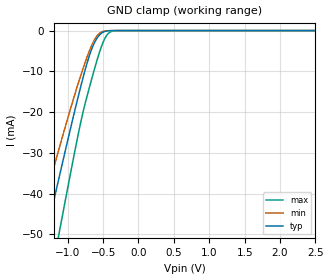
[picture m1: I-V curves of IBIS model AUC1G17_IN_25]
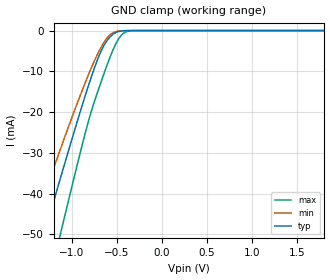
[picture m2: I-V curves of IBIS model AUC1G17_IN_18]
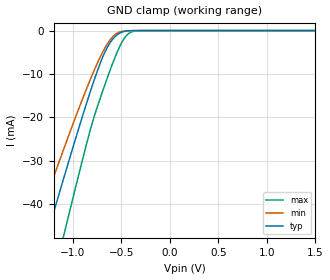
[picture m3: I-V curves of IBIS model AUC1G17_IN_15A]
| TEXAS INSTRUMENTS INCORPORATED
| Standard Linear and Logic Group
| IBIS Model of SN74AUC1G17
| Single Schmitt-Trigger Buffer
| This file contains package information for the following:
|  SOT 5-pin (DCK) package as [Component] AUC1G17_DCK
|  SOT 5-pin (DBV) package as [Component] AUC1G17_DBV
|  NanoStar WCSP 5-pin (YEA) package as [Component] AUC1G17_YEA
|  NanoFree WCSP 5-pin (YZA) package as [Component] AUC1G17_YZA
| This device can be powered at the following Vccs:
|  2.5 volt Vcc
|  1.8 volt Vcc
|  1.5 volt Vcc
|  1.2 volt Vcc
|  0.8 volt Vcc
| This file provides unique models under the [Model Selector] for each Vcc.
| For operation at a specific Vcc, select the appropriate model after each
| [Model Selector] keyword.
[IBIS Ver]   3.2
[Comment char]  |_char
[File Name]   sn74auc1g17.ibs
[File Rev]   1.1 | a_die
[Date]   September 27, 2002
[Source]   Data created from TI-SPICE simulations at TI-SLL.
[Notes]   The following is an IBIS list for the AUC1G17.
   Please contact sllibis@ti.com with questions and
   comments concerning SLL IBIS models.
   - The SN74AUC1G17 has output feedback control circuitry.
   This will cause some non-monotonicity warnings.
   - The SN74AUC1G17 inputs has no power clamp diode.
   Therefore, the input power clamp data are not included.
[Disclaimer] Property of Texas Instruments Incorporated.  Unauthorized
                reproduction and/or distribution is strictly prohibited.
                This product is protected under copyright law.
                Created  2002, (C) Copyright  2002, Texas Instruments
                Incorporated, All Rights Reserved
                UNLESS THERE IS A SIGNED, WRITTEN AGREEMENT TO THE
                CONTRARY, TEXAS INSTRUMENTS (TI) IS PROVIDING THE IBIS
                MODELS  AND WITHOUT ANY WARRANTY, EXPRESSED OR
                IMPLIED.  TI assumes no liability for:
                 1) the accuracy of the IBIS models provided to your
                    company;
                 2) the proper functioning of these IBIS Models in your
                    design or for any resulting applications; or
                 3) infringement of patents, copyrights or intellectual
                    property rights resulting from your use of these IBIS
                    models.
                TI provides IBIS Models as a service to our customers.
                You and your company shall not distribute, sell or give
                these models to anyone else without prior written
                permission from TI.
                TI reserves the right to make changes to our products or
                to discontinue any semiconductor product or service
                without notice, and advises our customers to obtain the
                latest version of relevant information to verify, before
                placing orders, that the information being relied on is
                current.
                Please be aware that your receipt and use of the IBIS
                information provided shall serve as acceptance of these
                terms and conditions.  If you do not accept these terms,
                you should return or destroy the IBIS models and any
                other accompanying information immediately.
| Component AUC1G17_DCK 5-pin SOT
[Component]   AUC1G17_DCK
[Manufacturer]   Texas Instruments, Inc.
[Package]
|   typ   min   max
R_pkg   2.000e-02   1.700e-02   2.500e-02
L_pkg   9.980e-10   8.810e-10   1.069e-09
C_pkg   1.460e-13   1.180e-13   2.050e-13
[Pin]   signal_name   model_name   R_pin   L_pin   C_pin
1   NC   NC   1.900e-02   1.069e-09   1.620e-13
2   A   AUC1G17_IN   1.800e-02   8.810e-10   1.210e-13
3   GND   GND   1.700e-02   1.031e-09   2.050e-13
4   Y   AUC1G17_OUT   2.000e-02   9.600e-10   1.240e-13
5   VCC   POWER   2.500e-02   1.049e-09   1.180e-13
[Pin Mapping]   pulldown_ref   pullup_ref  gnd_clamp_ref   power_clamp_ref
1   NC   NC
2   gndbus   pwrbus
3   gndbus   NC
4   gndbus   pwrbus
5   NC   pwrbus
| Component AUC1G17_DBV 5-pin SOT
[Component]   AUC1G17_DBV
[Manufacturer]   Texas Instruments, Inc.
[Package]
|   typ   min   max
R_pkg   2.500e-02   2.100e-02   2.900e-02
L_pkg   1.529e-09   1.312e-09   1.906e-09
C_pkg   1.560e-13   1.100e-13   2.400e-13
[Pin]   signal_name   model_name   R_pin   L_pin   C_pin
1   NC   NC   2.100e-02   1.511e-09   1.440e-13
2   A   AUC1G17_IN   2.300e-02   1.312e-09   1.380e-13
3   GND   GND   2.900e-02   1.906e-09   2.400e-13
4   Y   AUC1G17_OUT   2.600e-02   1.541e-09   1.500e-13
5   VCC   POWER   2.500e-02   1.374e-09   1.100e-13
| Component AUC1G17_YEA 5-pin NanoStar WCSP
[Component]   AUC1G17_YEA
[Manufacturer]   Texas Instruments, Inc.
[Package]
|   typ   min   max
R_pkg   0.001   0.001   0.001
L_pkg   0.021nH   0.021nH   0.021nH
C_pkg   0.046pF   0.045pF   0.047pF
[Pin]   signal_name   model_name   R_pin   L_pin   C_pin
1   DNU   NC   0.001   0.021nH   0.046pF
2   A   AUC1G17_IN   0.001   0.021nH   0.047pF
3   GND   GND   0.001   0.021nH   0.046pF
4   Y   AUC1G17_OUT   0.001   0.021nH   0.045pF
5   VCC   POWER   0.001   0.021nH   0.045pF
| Component AUC1G17_YZA 5-pin NanoFree WCSP
[Component]   AUC1G17_YZA
[Manufacturer]   Texas Instruments, Inc.
[Package]
|   typ   min   max
R_pkg   0.001   0.001   0.001
L_pkg   0.021nH   0.021nH   0.021nH
C_pkg   0.046pF   0.045pF   0.047pF
[Pin]   signal_name   model_name   R_pin   L_pin   C_pin
1   DNU   NC   0.001   0.021nH   0.046pF
2   A   AUC1G17_IN   0.001   0.021nH   0.047pF
3   GND   GND   0.001   0.021nH   0.046pF
4   Y   AUC1G17_OUT   0.001   0.021nH   0.045pF
5   VCC   POWER   0.001   0.021nH   0.045pF
| Model AUC1G17_IN
[Model Selector]   AUC1G17_IN
AUC1G17_IN_25   2.5 volt Vcc
AUC1G17_IN_18   1.8 volt Vcc
AUC1G17_IN_15A   1.5 volt Vcc
AUC1G17_IN_12   1.2 volt Vcc
AUC1G17_IN_08   0.8 volt Vcc
| Model AUC1G17_OUT
[Model Selector]   AUC1G17_OUT
AUC1G17_OUT_25   2.5 volt Vcc
AUC1G17_OUT_18   1.8 volt Vcc
AUC1G17_OUT_15A   1.5 volt Vcc
AUC1G17_OUT_12   1.2 volt Vcc
AUC1G17_OUT_08   0.8 volt Vcc
| Models and submodels in the file (10): AUC1G17_IN_25 (Input), AUC1G17_IN_18 (Input), AUC1G17_IN_15A (Input), AUC1G17_IN_12 (Input), AUC1G17_IN_08 (Input), AUC1G17_OUT_25 (Output), AUC1G17_OUT_18 (Output), AUC1G17_OUT_15A (Output), AUC1G17_OUT_12 (Output), AUC1G17_OUT_08 (Output)
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[Model]   AUC1G17_IN_25
Model_type  Input
Vinl=0.7
Vinh=1.7
| variable   typ   min   max
C_comp   2.56pF   2.09pF   3.30pF
[Temperature Range]   40   100   -40
| Ambient temperature   25   85   -40
[Voltage range]   2.5   2.3   2.7
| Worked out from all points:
|   GND clamp passes 1 mA (typ) near -0.55 V on its own axis
[GND Clamp]
| AUC1G17_IN_25
|   Voltage   I(typ)   I(min)   I(max)
-3.6V     -230.2mA   -193.8mA   -275.4mA
-1.465V   -62.46mA   -50.68mA   -81.32mA
-1.41V    -58.19mA   -47.14mA   -76.26mA
-1.3V     -49.69mA   -40.13mA   -66.14mA
-1.11V    -35.19mA   -28.25mA   -48.67mA
-845mV    -15.76mA   -12.61mA   -24.92mA
-720mV    -7.623mA   -6.181mA   -15.69mA
-625mV    -3.09mA    -2.403mA   -9.633mA
-515mV    -559.5uA   -308.9uA   -3.552mA
-430mV    -73.2uA    -35.77uA   -776.9uA
-325mV    -3.339uA   -2.035uA   -30.74uA
2.5V      313.9pA    402pA      470.4pA
[Model]   AUC1G17_IN_18
Model_type  Input
Vinl=0.5775
Vinh=1.2675
| variable   typ   min   max
C_comp   2.52pF   2.12pF   3.21pF
[Temperature Range]   40   100   -40
| Ambient temperature   25   85   -40
[Voltage range]   1.8   1.65   1.95
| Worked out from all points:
|   GND clamp passes 1 mA (typ) near -0.55 V on its own axis
[GND Clamp]
| AUC1G17_IN_18
|   Voltage   I(typ)   I(min)   I(max)
-3.6V     -230.2mA   -193.8mA   -275.4mA
-1.445V   -60.91mA   -49.39mA   -79.48mA
-1.29V    -48.93mA   -39.5mA    -65.22mA
-1.145V   -37.84mA   -30.41mA   -51.89mA
-1.1V     -34.44mA   -27.64mA   -47.76mA
-830mV    -14.72mA   -11.79mA   -23.67mA
-690mV    -5.96mA    -4.844mA   -13.74mA
-565mV    -1.381mA   -914.2uA   -6.102mA
-490mV    -326uA     -167.9uA   -2.495mA
-425mV    -63.97uA   -31.34uA   -688.8uA
-275mV    -662.6nA   -487.6nA   -4.372uA
1.8V      203.2pA    298.4pA    235.5pA
[Model]   AUC1G17_IN_15A
Model_type  Input
Vinl=0.49
Vinh=1.04
| variable   typ   min   max
C_comp   2.52pF   2.12pF   3.23pF
[Temperature Range]   40   100   -40
| Ambient temperature   25   85   -40
[Voltage range]   1.5   1.4   1.6
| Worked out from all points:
|   GND clamp passes 1 mA (typ) near -0.55 V on its own axis
[GND Clamp]
| AUC1G17_IN_15A
|   Voltage   I(typ)   I(min)   I(max)
-3.6V     -230.2mA   -193.8mA   -275.4mA
-1.39V    -56.64mA   -45.86mA   -74.42mA
-1.25V    -45.85mA   -36.97mA   -61.54mA
-1.095V   -34.06mA   -27.33mA   -47.3mA
-1.05V    -30.68mA   -24.59mA   -43.18mA
-810mV    -13.36mA   -10.7mA    -22.06mA
-685mV    -5.701mA   -4.633mA   -13.41mA
-565mV    -1.381mA   -914.2uA   -6.102mA
-490mV    -326uA     -167.9uA   -2.495mA
-425mV    -63.97uA   -31.34uA   -688.8uA
-280mV    -781.4nA   -563.5nA   -5.358uA
1.5V      165.9pA    259.7pA    172.1pA
